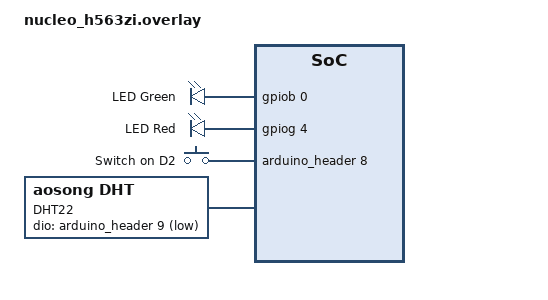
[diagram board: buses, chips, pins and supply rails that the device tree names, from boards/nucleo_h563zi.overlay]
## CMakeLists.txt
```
# SPDX-License-Identifier: Apache-2.0

cmake_minimum_required(VERSION 3.20.0)
find_package(Zephyr REQUIRED HINTS $ENV{ZEPHYR_BASE})
project(OnOffTemp)

target_sources(app PRIVATE src/main.c)
```

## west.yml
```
manifest:
  remotes:
    - name: zephyrproject-rtos
      url-base: https://github.com/zephyrproject-rtos
  projects:
    - name: zephyr
      remote: zephyrproject-rtos
      revision: v4.4.0
      import: true
  self:
    path: OnOffTemp
```

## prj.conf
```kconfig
CONFIG_GPIO=y
CONFIG_SENSOR=y
CONFIG_DHT=y
CONFIG_CBPRINTF_FP_SUPPORT=y
```

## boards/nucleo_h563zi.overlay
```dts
/ {
	aliases {
		led-green = &led_green;
		led-red   = &led_red;
		sw0       = &toggle_switch;
	};

	leds {
		compatible = "gpio-leds";
		led_green: led_1 {
			gpios = <&gpiob 0 GPIO_ACTIVE_HIGH>;
			label = "LED Green";
		};
		led_red: led_2 {
			gpios = <&gpiog 4 GPIO_ACTIVE_HIGH>;
			label = "LED Red";
		};
	};

	buttons {
		compatible = "gpio-keys";
		toggle_switch: switch_1 {
			gpios = <&arduino_header 8 GPIO_ACTIVE_HIGH>; /* D2 Pin */
			label = "Switch on D2";
		};
	};

	dht_sensor: dht11 {
		compatible = "aosong,dht";
		status = "okay";
        dht22;

		/* Grove SIG connected to D3 */
		dio-gpios = <&arduino_header 9 (GPIO_ACTIVE_LOW | GPIO_PULL_UP)>;
		label = "DHT22";
	};
};
```

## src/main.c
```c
#include <zephyr/kernel.h>
#include <zephyr/drivers/gpio.h>
#include <zephyr/drivers/sensor.h>
#include <zephyr/sys/printk.h>

/* Retrieve devices from overlay aliases/nodes */
static const struct gpio_dt_spec led_green  = GPIO_DT_SPEC_GET(DT_ALIAS(led_green), gpios);
static const struct gpio_dt_spec led_red    = GPIO_DT_SPEC_GET(DT_ALIAS(led_red), gpios);
static const struct gpio_dt_spec switch_pin = GPIO_DT_SPEC_GET(DT_ALIAS(sw0), gpios);
static const struct device *const dht_dev   = DEVICE_DT_GET(DT_NODELABEL(dht_sensor));

int main(void)
{
	struct sensor_value temp, humidity;

	if (!gpio_is_ready_dt(&led_green) || !gpio_is_ready_dt(&led_red) || 
	    !gpio_is_ready_dt(&switch_pin)) {
		printk("Error: GPIO pin setup failed.\n");
		return -1;
	}

	if (!device_is_ready(dht_dev)) {
		printk("Error: DHT sensor driver not ready.\n");
		return -1;
	}

	gpio_pin_configure_dt(&led_green, GPIO_OUTPUT_INACTIVE);
	gpio_pin_configure_dt(&led_red, GPIO_OUTPUT_INACTIVE);
	gpio_pin_configure_dt(&switch_pin, GPIO_INPUT);

	printk("Environment Monitor Initialized!\n");

	while (1) {
		int state = gpio_pin_get_dt(&switch_pin);

		if (state > 0) {
			/* --- SYSTEM ON --- */
			gpio_pin_set_dt(&led_green, 1);
			gpio_pin_set_dt(&led_red, 0);

			/* Fetch data from the DHT sensor */
			if (sensor_sample_fetch(dht_dev) == 0) {
				sensor_channel_get(dht_dev, SENSOR_CHAN_AMBIENT_TEMP, &temp);
				sensor_channel_get(dht_dev, SENSOR_CHAN_HUMIDITY, &humidity);
				
				printk("Temp: %d.%02d C  |  Humidity: %d.%02d %%\n", 
				       temp.val1, temp.val2 / 10000,
				       humidity.val1, humidity.val2 / 10000);
			} else {
				printk("Sensor read error. (Waiting 2 seconds to reset)\n");
			}

			/* DHT sensors are slow; they need at least 2 seconds between reads */
			k_msleep(2000); 
		} else {
			/* --- SYSTEM OFF --- */
			gpio_pin_set_dt(&led_green, 0);
			gpio_pin_set_dt(&led_red, 1);

			k_msleep(100);
		}
	}

	return 0;
}
```
